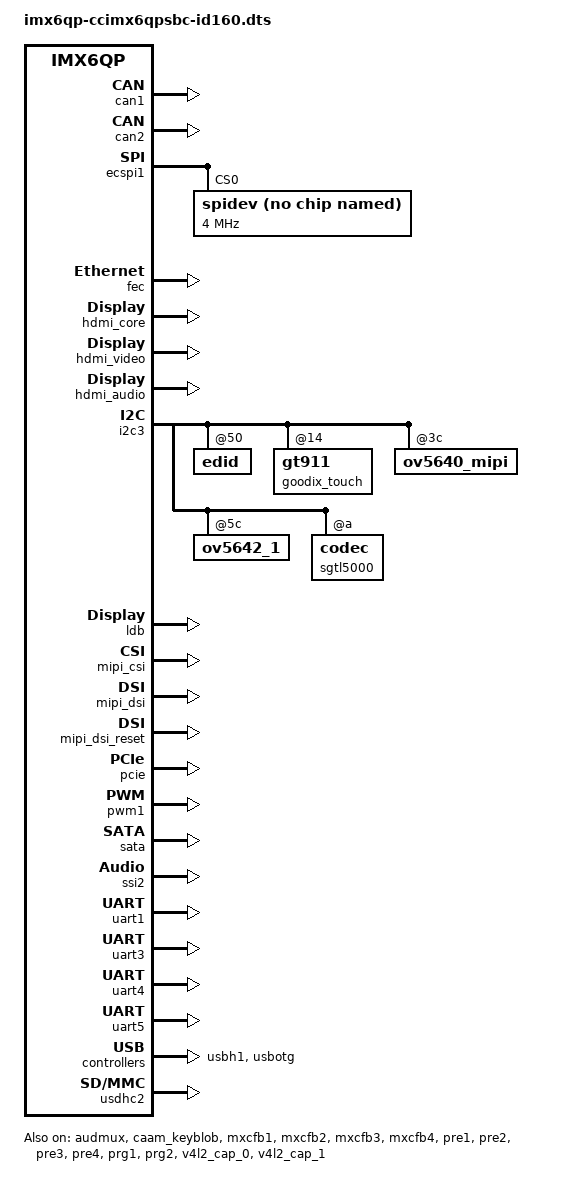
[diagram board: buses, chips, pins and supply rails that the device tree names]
/*
 * Copyright 2017,2018 Digi International Inc.
 *
 * Permission to use, copy, modify, and/or distribute this software for any
 * purpose with or without fee is hereby granted, provided that the above
 * copyright notice and this permission notice appear in all copies.
 *
 * THE SOFTWARE IS PROVIDED "AS IS" AND THE AUTHOR DISCLAIMS ALL WARRANTIES
 * WITH REGARD TO THIS SOFTWARE INCLUDING ALL IMPLIED WARRANTIES OF
 * MERCHANTABILITY AND FITNESS. IN NO EVENT SHALL THE AUTHOR BE LIABLE FOR
 * ANY SPECIAL, DIRECT, INDIRECT, OR CONSEQUENTIAL DAMAGES OR ANY DAMAGES
 * WHATSOEVER RESULTING FROM LOSS OF USE, DATA OR PROFITS, WHETHER IN AN
 * ACTION OF CONTRACT, NEGLIGENCE OR OTHER TORTIOUS ACTION, ARISING OUT OF
 * OR IN CONNECTION WITH THE USE OR PERFORMANCE OF THIS SOFTWARE.
 */

/dts-v1/;
#include <dt-bindings/gpio/gpio.h>
/* i.MX6 QuadPlus CPU */
#include "imx6qp.dtsi"
/* ConnectCore 6 QuadPlus (wireless/bluetooth variant) */
#include "imx6qp-ccimx6-wb.dtsi"
/* ConnectCore 6 QuadPlus SBC carrier board */
#include "imx6qp-ccimx6qpsbc.dtsi"

&audmux {
	status = "okay";
};

&caam_keyblob {
	status = "okay";
};

&can1 {
	status = "okay";
};

&can2 {
	status = "okay";
};

&codec_power {
	status = "okay";
};

&ecspi1 {
	status = "okay";

	/*
	 * Add your slave devices here. Next is an example of spidev.
	 * Expect a harmless kernel warning if you enable spidev as slave.
	 */
	spidev@0 {
		reg = <0>;
		compatible = "spidev";
		spi-max-frequency = <4000000>;
	};
};

&fec {
	status = "okay";
};

&hdmi_core {
	status = "okay";
};

&hdmi_video {
	status = "okay";
};

&hdmi_audio {
	status = "okay";
};

&i2c3 {
	status = "okay";

	edid@50 {
		status = "okay";
	};

	/* Uncomment to enable the fusion touch, used with hsd101pfw2 */
	//fusion@14 {
	//	status = "okay";
	//};

	goodix_touch: gt911@14 {
		status = "okay";
	};

	/* MIPI-CSI2 camera */
	ov5640_mipi: ov5640_mipi@3c {
		status = "okay";
	};

	/* Parallel camera CSI0 */
	ov5642_1: ov5642_1@5c {
		status = "okay";
	};

	sgtl5000: codec@a {
		status = "okay";
	};
};

/*
 * Parallel LCD conflicts with other interfaces:
 * IPU0:DI0 with MIPI display: comment the 'mipi_dsi' and 'mipi_dsi_reset' nodes.
 * Pad DISP0_DAT8 with PWM1: comment the 'pwm1' node.
 */
//&lcd {
//	status = "okay";
//};

&ldb {
	status = "okay";

	lvds-channel@0 {
		status = "okay";
	};
	lvds-channel@1 {
		status = "okay";
	};
};

&mipi_csi {
	status = "okay";
};

/*
 * The MIPI display conflicts with IPU0:DI0 on the parallel LCD.
 */
&mipi_dsi {
	status = "okay";
};

&mipi_dsi_reset {
	status = "okay";
};

&mxcfb1 {
	prefetch;
	status = "okay";
};

&mxcfb2 {
	prefetch;
	status = "okay";
};

&mxcfb3 {
	prefetch;
	status = "okay";
};

&mxcfb4 {
	prefetch;
	status = "okay";
};

&pre1 {
	status = "okay";
};

&pre2 {
	status = "okay";
};

&pre3 {
	status = "okay";
};

&pre4 {
	status = "okay";
};

&prg1 {
	memory-region = <&memory>;
	status = "okay";
};

&prg2 {
	memory-region = <&memory>;
	status = "okay";
};

&pcie {
	status = "okay";
};

/*
 * PWM1 uses pad DISP0_DAT8 on pin 10 of the parallel LCD connector.
 * Disable PWM1 if you want to use the parallel LCD.
 */
&pwm1 {
	status = "okay";
};

&sata {
	status = "okay";
};

&sound_hdmi {
	status = "okay";
};

&sound_sgtl5000 {
	status = "okay";
};

&ssi2 {
	status = "okay";
};

&uart1 {
	status = "okay";
};

&uart3 {
	status = "okay";
};

&uart4 {
	status = "okay";
};

&uart5 {
	status = "okay";
};

&usbh1 {
	status = "okay";
};

&usbotg {
	status = "okay";
};

&usdhc2 {
	status = "okay";
};

&v4l2_cap_0 {
	status = "okay";
};

&v4l2_cap_1 {
	status = "okay";
};

&v4l2_out {
	status = "okay";
};
